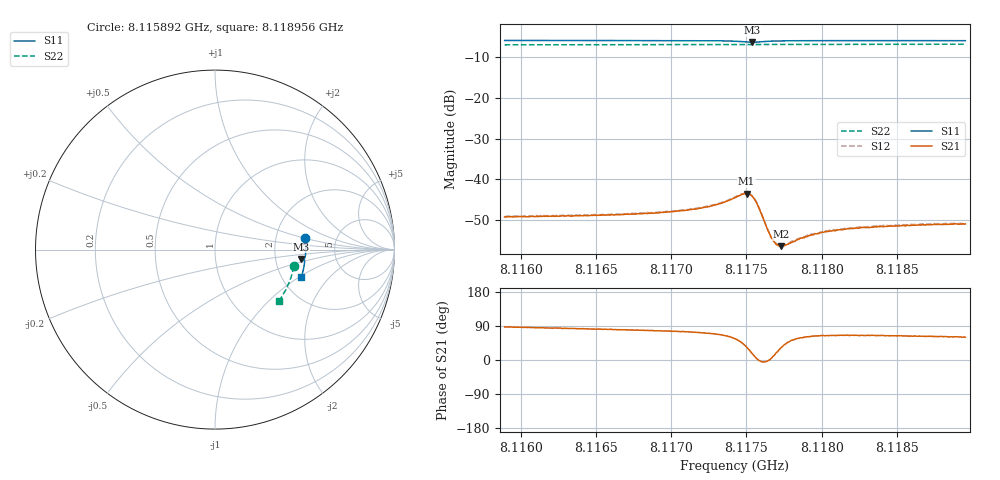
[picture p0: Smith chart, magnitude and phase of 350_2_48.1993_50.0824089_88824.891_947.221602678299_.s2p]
#  HZ  S  RI  R  50.00
! Rohde & Schwarz Vector Network Analyzer
! Rohde-Schwarz,ZNB20-2Port,1311601062101988,3.16
! Created: UTC 3/20/2024, 11:51:45 AM
! freq[Hz]  re:S11  im:S11  re:S21  im:S21  re:S12  im:S12  re:S22  im:S22
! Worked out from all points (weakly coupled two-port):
!   401 points, 8.115892 GHz to 8.118956 GHz, reference 50 ohm
!   highest |S21| = -43.46 dB at 8.1175 GHz (marker M1); lowest = -56.4 dB at 8.11773 GHz (marker M2)
!   lowest |S11| = -6.3 dB at 8.117539 GHz (marker M3), VSWR 2.86, Z = 140 - j18.9 ohm
!   |S11| at or under -10 dB: nowhere
!   |S22| runs from -7.0 to -6.8 dB; largest |S21 - S12| = 0.00017
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8.1158919e9  0.5031 0.0662  0.000157 0.00346  0.000222 0.00351  0.4383 -0.0938
8.1164051e9  0.5062 0.0277  0.000474 0.00357  0.000536 0.00362  0.431 -0.1287
8.1169183e9  0.5058 -0.0115  0.000872 0.00378  0.000959 0.00388  0.4207 -0.1628
8.1171021e9  0.5046 -0.0265  0.00112 0.00403  0.0012 0.0041  0.4163 -0.1749
8.1172247e9  0.5028 -0.0369  0.00148 0.00434  0.00153 0.00437  0.4131 -0.1829
8.1173396e9  0.4996 -0.0476  0.00211 0.00469  0.0022 0.0048  0.41 -0.1905
8.1174239e9  0.4938 -0.0558  0.00334 0.00498  0.00344 0.00505  0.4074 -0.1959
8.1175004e9  0.4825 -0.0577  0.00554 0.00379  0.00568 0.00381  0.4048 -0.2006
8.1175387e9  0.4791 -0.0517  0.00595 0.00178  0.00606 0.00174  0.4038 -0.2024
8.1175541e9  0.4797 -0.0486  0.00559 0.000954  0.00574 0.00094  0.4034 -0.2032
8.117577e9  0.483 -0.0456  0.00473 8.51e-05  0.00483 3.82e-05  0.4028 -0.2045
8.1176383e9  0.4928 -0.0478  0.00247 -0.000126  0.00253 -0.000146  0.4018 -0.2084
8.117669e9  0.4957 -0.0509  0.00188 0.000197  0.00194 0.000203  0.4009 -0.2105
8.1176996e9  0.4971 -0.0544  0.00149 0.000543  0.00152 0.000509  0.4 -0.2125
8.1177302e9  0.4982 -0.058  0.00128 0.00082  0.00131 0.000827  0.3991 -0.2145
8.1177609e9  0.4988 -0.0613  0.00117 0.00107  0.00118 0.00107  0.3982 -0.2164
8.1178528e9  0.499 -0.0701  0.000993 0.00158  0.00103 0.00161  0.3955 -0.2221
8.1179371e9  0.4983 -0.0775  0.000951 0.00186  0.00099 0.0019  0.3926 -0.2276
8.1180443e9  0.4971 -0.0865  0.00102 0.00207  0.00101 0.0021  0.389 -0.2342
8.1181592e9  0.4956 -0.0955  0.00104 0.00223  0.00109 0.00226  0.3852 -0.2414
8.1184503e9  0.4908 -0.1174  0.00119 0.0024  0.0012 0.00243  0.3747 -0.2589
8.1189558e9  0.4803 -0.154  0.00141 0.00247  0.00143 0.00252  0.3543 -0.288
